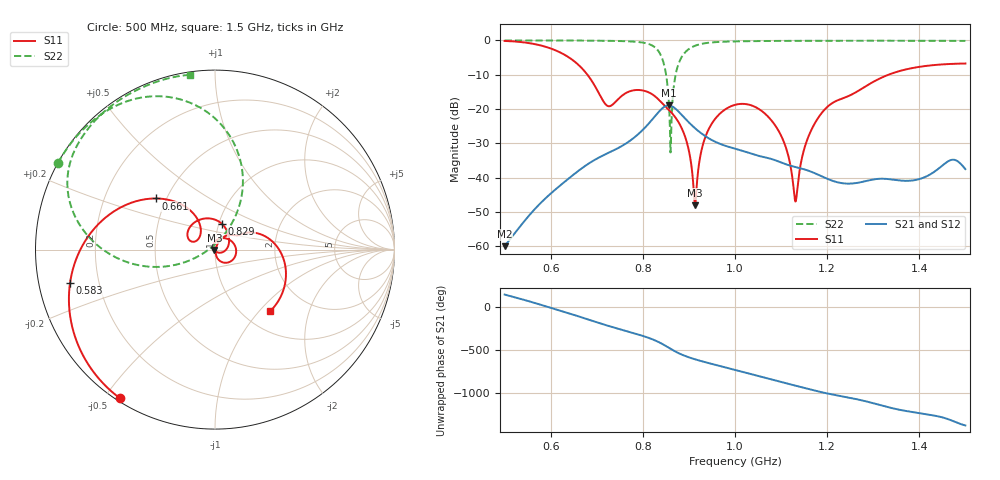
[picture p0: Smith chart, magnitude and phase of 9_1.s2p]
! TOUCHSTONE file generated by CST MICROWAVE STUDIO
! Date and time: Fri Oct  2 18:47:33 2020
! Project name: Scenario_1_Free_Space_out_of_line.cst
! Parameters = {Lambda=346.42; Step_1=17.321; dy1=208.912; dx1=173; L_HA=400; MT=2.54; Rad_Dielectric=30; Rad_Lower=7.3; Rad_Upper=30; a_HA=580; a_WG=246; b_HA=500; b_WG=121; c_HA=0; c_WG=187; d_feed=85; h_feed=15; h_lower=18; h_upper=40}
! Header version: 2018
! Port assignment regex: !\s*Touchstone port\s*([0-9]+)\s*=\s*(CST MWS port|CST DS port)\s*([0-9]+|Zmin|Zmax)\s*\(\"(.*)\"\)(\s*mode\s*([0-9]+))?.*
! Touchstone port assignment:
! Touchstone port 1 = CST MWS port 1 ("")
! Touchstone port 2 = CST MWS port 2 ("")
# GHz S DB R 50
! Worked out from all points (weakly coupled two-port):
!   1003 points, 500 MHz to 1.5 GHz, reference 50 ohm
!   highest |S21| = -18.94 dB at 856 MHz (marker M1); lowest = -60.0 dB at 500 MHz (marker M2)
!   lowest |S11| = -48.1 dB at 913 MHz (marker M3), VSWR 1.01, Z = 49.7 - j0.267 ohm
!   |S11| at or under -10 dB: 679.7 MHz to 1.333 GHz (653.3 MHz wide, 64.9 % of centre)
!   |S22| runs from -32.7 to 0.0 dB; largest |S21 - S12| = 0.00015
!   S11 on the Smith chart (normalised r, x): 500 MHz: 0.01, -0.55; 583 MHz: 0.09, -0.11; 661 MHz: 0.44, +0.31; 829 MHz: 1.04, +0.30; 1.5 GHz: 1.32, -1.15
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0.5  -0.15 -122.5  -59.98 145.1  -59.98 145.1  -0.01 151.2
0.583  -1.62 -166.9  -46.76 19.4  -46.76 19.4  -0.01 145.4
0.661  -7.22 139.2  -37.93 -108.4  -37.93 -108.4  -0.04 138.9
0.667  -8.01 135.0  -37.33 -118.7  -37.33 -118.7  -0.04 138.4
0.724  -19.12 141.3  -32.87 144.2  -32.87 144.2  -0.11 131.9
0.789  -14.44 128.9  -27.44 44.3  -27.44 44.3  -0.44 118.0
0.829  -16.58 74.5  -21.68 -31.7  -21.68 -31.7  -2.34 92.9
0.834  -17.21 67.3  -20.91 -44.2  -20.91 -44.2  -3.14 87.1
0.848  -19.11 48.2  -19.23 -84.5  -19.23 -84.5  -8.20 66.5
0.856  -20.18 37.1  -18.94 -110.2  -18.94 -110.2  -17.08 57.1
0.862  -21.03 28.1  -19.12 -129.3  -19.12 -129.3  -24.37 -164.6
0.873  -22.90 10.0  -20.16 -161.6  -20.16 -161.6  -8.85 -164.5
0.893  -28.60 -27.3  -22.95 151.7  -22.95 151.7  -3.30 175.9
0.913  -48.07 -137.1  -25.57 115.7  -25.57 115.7  -1.57 163.5
0.941  -26.41 85.2  -28.37 74.1  -28.37 74.1  -0.70 152.6
1  -18.78 6.9  -31.56 -6.3  -31.56 -6.3  -0.28 140.7
1.087  -24.73 -71.5  -34.92 -130.0  -34.92 -130.0  -0.14 131.2
1.112  -31.88 -79.2  -36.17 -164.4  -36.17 -164.4  -0.12 128.9
1.131  -46.98 -12.3  -36.91 170.8  -36.91 170.8  -0.11 127.3
1.167  -25.74 63.9  -38.37 121.5  -38.37 121.5  -0.10 124.4
1.334  -9.95 9.1  -40.45 -81.4  -40.45 -81.4  -0.09 111.7
1.5  -6.73 -47.9  -37.52 69.5  -37.58 69.7  -0.14 98.1
